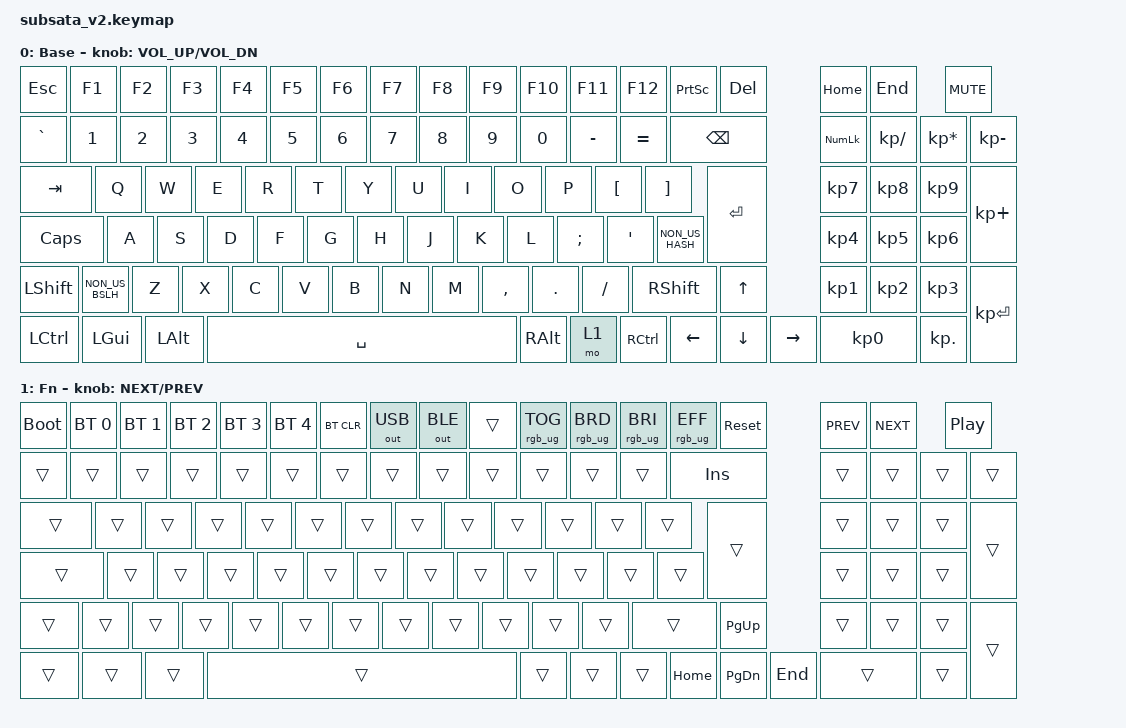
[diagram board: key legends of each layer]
#include <behaviors.dtsi>
#include <dt-bindings/zmk/keys.h>
#include <dt-bindings/zmk/bt.h>
#include <dt-bindings/zmk/outputs.h>
#include <dt-bindings/zmk/rgb.h>

/ {
    keymap {
        compatible = "zmk,keymap";

        base {
            display-name = "Base";
            bindings = <
                &kp ESC         &kp F1          &kp F2          &kp F3          &kp F4          &kp F5          &kp F6          &kp F7          &kp F8          &kp F9          &kp F10         &kp F11         &kp F12         &kp PSCRN       &kp DEL         &kp HOME        &kp END         &kp C_MUTE
                &kp GRAVE       &kp N1          &kp N2          &kp N3          &kp N4          &kp N5          &kp N6          &kp N7          &kp N8          &kp N9          &kp N0          &kp MINUS       &kp EQUAL       &kp BSPC        &kp KP_NUM      &kp KP_SLASH    &kp KP_MULTIPLY &kp KP_MINUS
                &kp TAB         &kp Q           &kp W           &kp E           &kp R           &kp T           &kp Y           &kp U           &kp I           &kp O           &kp P           &kp LBKT        &kp RBKT        &kp RET         &kp KP_N7       &kp KP_N8       &kp KP_N9       &kp KP_PLUS
                &kp CAPS        &kp A           &kp S           &kp D           &kp F           &kp G           &kp H           &kp J           &kp K           &kp L           &kp SEMI        &kp SQT         &kp NON_US_HASH &kp KP_N4       &kp KP_N5       &kp KP_N6
                &kp LSHFT       &kp NON_US_BSLH &kp Z           &kp X           &kp C           &kp V           &kp B           &kp N           &kp M           &kp COMMA       &kp DOT         &kp FSLH        &kp RSHFT       &kp UP          &kp KP_N1       &kp KP_N2       &kp KP_N3       &kp KP_ENTER
                &kp LCTRL       &kp LGUI        &kp LALT        &kp SPACE       &kp RALT        &mo 1           &kp RCTRL       &kp LEFT        &kp DOWN        &kp RIGHT       &kp KP_N0       &kp KP_DOT
            >;
            sensor-bindings = <&inc_dec_kp C_VOL_UP C_VOL_DN>;
        };

        // Hold Fn (right of Right Alt).
        // Esc: bootloader. F1-F5: Bluetooth profiles. F6: clear profile. F7/F8: USB/Bluetooth.
        // F10: LEDs on/off. F11/F12: dimmer/brighter. Print Screen: LED effect. Delete: restart.
        fn {
            display-name = "Fn";
            bindings = <
                &bootloader     &bt BT_SEL 0    &bt BT_SEL 1    &bt BT_SEL 2    &bt BT_SEL 3    &bt BT_SEL 4    &bt BT_CLR      &out OUT_USB    &out OUT_BLE    &trans          &rgb_ug RGB_TOG &rgb_ug RGB_BRD &rgb_ug RGB_BRI &rgb_ug RGB_EFF &sys_reset      &kp C_PREV      &kp C_NEXT      &kp C_PP
                &trans          &trans          &trans          &trans          &trans          &trans          &trans          &trans          &trans          &trans          &trans          &trans          &trans          &kp INS         &trans          &trans          &trans          &trans
                &trans          &trans          &trans          &trans          &trans          &trans          &trans          &trans          &trans          &trans          &trans          &trans          &trans          &trans          &trans          &trans          &trans          &trans
                &trans          &trans          &trans          &trans          &trans          &trans          &trans          &trans          &trans          &trans          &trans          &trans          &trans          &trans          &trans          &trans
                &trans          &trans          &trans          &trans          &trans          &trans          &trans          &trans          &trans          &trans          &trans          &trans          &trans          &kp PG_UP       &trans          &trans          &trans          &trans
                &trans          &trans          &trans          &trans          &trans          &trans          &trans          &kp HOME        &kp PG_DN       &kp END         &trans          &trans
            >;
            sensor-bindings = <&inc_dec_kp C_NEXT C_PREV>;
        };
    };
};
